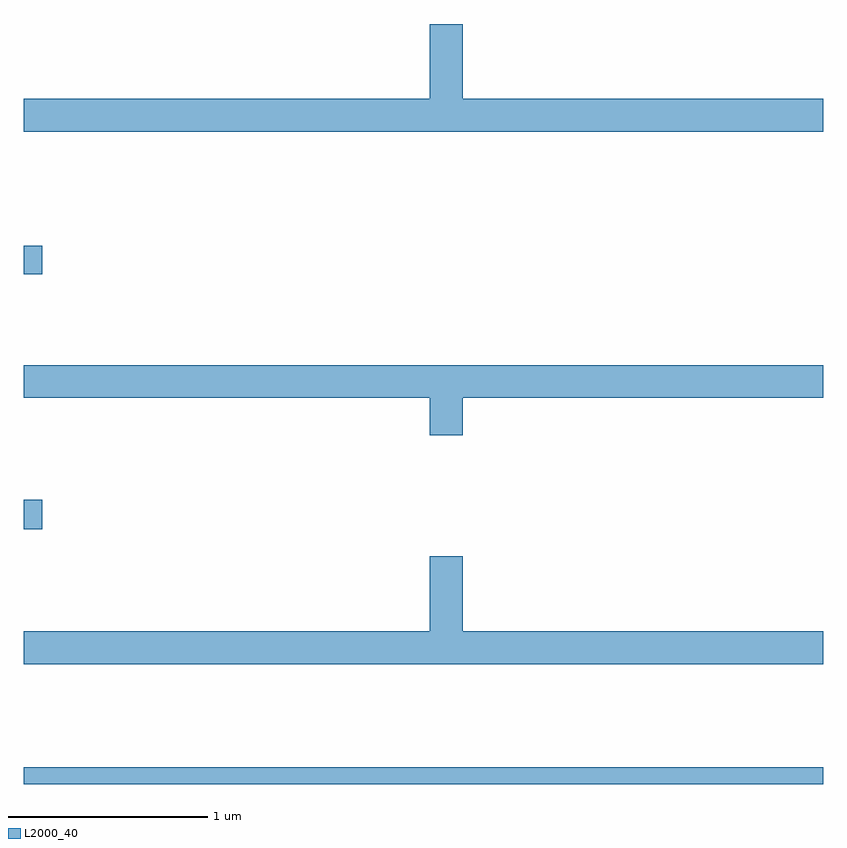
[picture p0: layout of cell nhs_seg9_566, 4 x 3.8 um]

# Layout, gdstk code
import gdstk
lib = gdstk.Library(unit=1e-6, precision=1e-09)
def R(c, l, rs):  # rectangles x0, y0, x1, y1
    for r in rs: c.add(gdstk.rectangle(r[:2], r[2:], *l))
def P(c, l, *ps):  # polygons
    for p in ps: c.add(gdstk.Polygon(p, *l))
L2000_40 = (2000, 40)

nhs_seg9_566 = lib.new_cell('nhs_seg9_566')
R(nhs_seg9_566, L2000_40, [(139,1182.5,143,1182.584), (139,1183.775,139.093,1183.922), (139,1185.052,139.093,1185.194)])
P(nhs_seg9_566, L2000_40, [(143,1185.928),(141.196,1185.928),(141.196,1186.303),(141.032,1186.303),(141.032,1185.928),(139,1185.928),(139,1185.764),(143,1185.764)],
  [(141.196,1184.432),(143,1184.432),(143,1184.596),(139,1184.596),(139,1184.432),(141.032,1184.432),(141.032,1184.244),(141.196,1184.244)],
  [(143,1183.264),(141.196,1183.264),(141.196,1183.639),(141.032,1183.639),(141.032,1183.264),(139,1183.264),(139,1183.1),(143,1183.1)])

lib.write_gds('nhs_seg9_566.gds')
